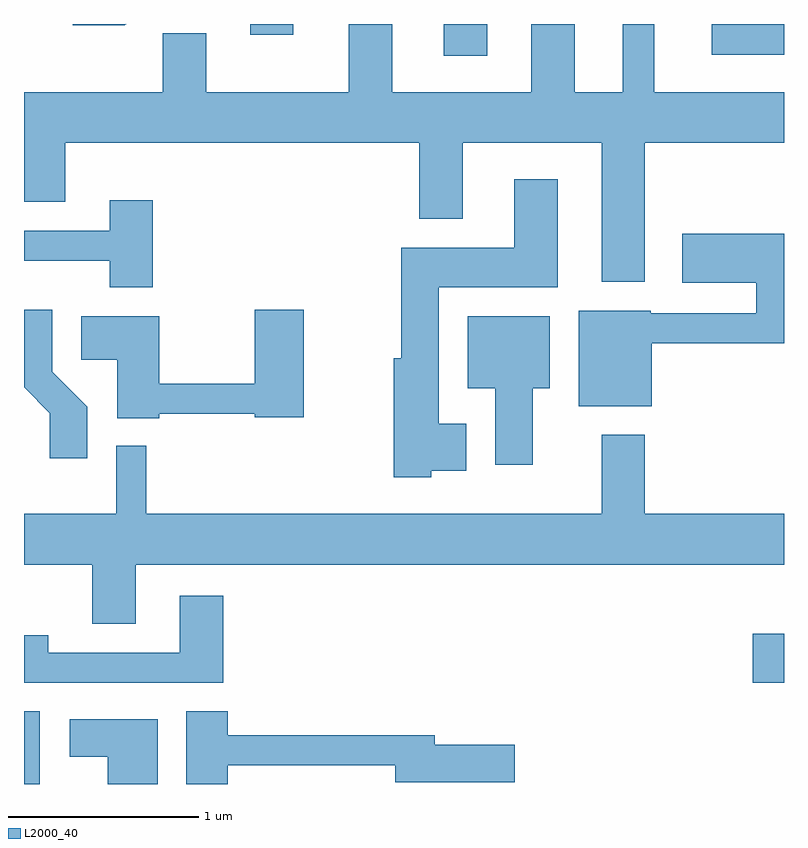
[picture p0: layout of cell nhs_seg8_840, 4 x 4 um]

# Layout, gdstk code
import gdstk
lib = gdstk.Library(unit=1e-6, precision=1e-09)
def R(c, l, rs):  # rectangles x0, y0, x1, y1
    for r in rs: c.add(gdstk.rectangle(r[:2], r[2:], *l))
def P(c, l, *ps):  # polygons
    for p in ps: c.add(gdstk.Polygon(p, *l))
L2000_40 = (2000, 40)

nhs_seg8_840 = lib.new_cell('nhs_seg8_840')
R(nhs_seg8_840, L2000_40, [(209.611,1866.342,209.694,1866.724), (213.446,1866.876,213.611,1867.134), (211.821,1870.176,212.049,1870.342), (213.231,1870.181,213.611,1870.342), (210.801,1870.286,211.029,1870.342)])
P(nhs_seg8_840, L2000_40, [(212.879,1869.716),(213.611,1869.716),(213.611,1869.984),(212.929,1869.984),(212.929,1870.342),(212.761,1870.342),(212.761,1869.984),(212.509,1869.984),(212.509,1870.342),(212.281,1870.342),(212.281,1869.984),(211.549,1869.984),(211.549,1870.342),(211.321,1870.342),(211.321,1869.984),(210.569,1869.984),(210.569,1870.294),(210.341,1870.294),(210.341,1869.984),(209.611,1869.984),(209.611,1869.406),(209.829,1869.406),(209.829,1869.716),(211.691,1869.716),(211.691,1869.316),(211.919,1869.316),(211.919,1869.716),(212.651,1869.716),(212.651,1868.986),(212.879,1868.986)],
  [(210.148,1870.342),(209.868,1870.342),(209.868,1870.336),(210.142,1870.336)],
  [(211.754,1867.991),(211.939,1867.991),(211.939,1868.239),(211.794,1868.239),(211.794,1868.956),(212.419,1868.956),(212.419,1869.524),(212.191,1869.524),(212.191,1869.164),(211.596,1869.164),(211.596,1868.584),(211.556,1868.584),(211.556,1867.956),(211.754,1867.956)],
  [(210.289,1869.414),(210.061,1869.414),(210.061,1869.254),(209.611,1869.254),(209.611,1869.096),(210.061,1869.096),(210.061,1868.956),(210.289,1868.956)],
  [(212.914,1868.661),(213.611,1868.661),(213.611,1869.239),(213.076,1869.239),(213.076,1868.981),(213.466,1868.981),(213.466,1868.819),(212.91,1868.819),(212.91,1868.834),(212.531,1868.834),(212.531,1868.331),(212.914,1868.331)],
  [(209.944,1868.327),(209.759,1868.512),(209.759,1868.839),(209.611,1868.839),(209.611,1868.429),(209.746,1868.294),(209.746,1868.056),(209.944,1868.056)],
  [(210.324,1868.291),(210.826,1868.291),(210.826,1868.271),(211.084,1868.271),(211.084,1868.839),(210.826,1868.839),(210.826,1868.449),(210.324,1868.449),(210.324,1868.804),(209.911,1868.804),(209.911,1868.576),(210.101,1868.576),(210.101,1868.266),(210.324,1868.266)],
  [(212.289,1868.426),(212.379,1868.426),(212.379,1868.804),(211.946,1868.804),(211.946,1868.426),(212.091,1868.426),(212.091,1868.021),(212.289,1868.021)],
  [(210.199,1867.496),(213.611,1867.496),(213.611,1867.764),(212.879,1867.764),(212.879,1868.179),(212.651,1868.179),(212.651,1867.764),(210.254,1867.764),(210.254,1868.123),(210.096,1868.123),(210.096,1867.764),(209.611,1867.764),(209.611,1867.496),(209.971,1867.496),(209.971,1867.186),(210.199,1867.186)],
  [(210.659,1867.334),(210.431,1867.334),(210.431,1867.034),(209.739,1867.034),(209.739,1867.124),(209.611,1867.124),(209.611,1866.876),(210.659,1866.876)],
  [(210.684,1866.441),(211.566,1866.441),(211.566,1866.351),(212.194,1866.351),(212.194,1866.549),(211.774,1866.549),(211.774,1866.599),(210.684,1866.599),(210.684,1866.724),(210.466,1866.724),(210.466,1866.342),(210.684,1866.342)],
  [(210.314,1866.684),(209.851,1866.684),(209.851,1866.486),(210.051,1866.486),(210.051,1866.342),(210.314,1866.342)])

lib.write_gds('nhs_seg8_840.gds')
